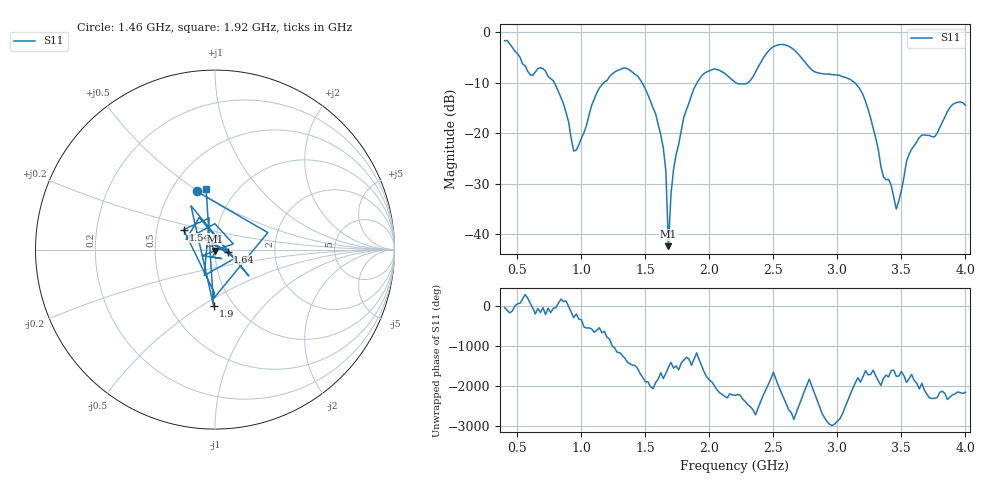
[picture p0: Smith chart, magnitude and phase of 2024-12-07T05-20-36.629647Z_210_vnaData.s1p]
!Created with skrf (http://scikit-rf.org).
# Hz S RI R 50.0
!freq ReS11 ImS11
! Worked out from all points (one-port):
!   181 points, 400 MHz to 4 GHz, reference 50 ohm
!   lowest |S11| = -42.3 dB at 1.68 GHz (marker M1), VSWR 1.02, Z = 50 - j0.763 ohm
!   |S11| at or under -10 dB: 789 MHz to 1.173 GHz (384.4 MHz wide, 39.2 % of centre); 1.475 GHz to 1.903 GHz (427.5 MHz wide, 25.3 % of centre); 3.137 GHz to end of sweep (the widest 3 of 4)
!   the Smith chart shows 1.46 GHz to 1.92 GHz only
!   S11 on the Smith chart (normalised r, x): 1.46 GHz: 0.67, +0.49; 1.54 GHz: 0.69, +0.16; 1.64 GHz: 1.15, -0.03; 1.9 GHz: 0.81, -0.56; 1.92 GHz: 0.72, +0.56
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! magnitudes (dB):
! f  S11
! 400 MHz  -1.7
! 600 MHz  -8.4
! 720 MHz  -7.7
! 860 MHz  -14.2
! 960 MHz  -23.3
! 1.14 GHz  -11.0
! 1.3 GHz  -7.4
! 1.46 GHz  -9.4
! 1.54 GHz  -13.7
! 1.64 GHz  -22.9
! 1.66 GHz  -27.5
! 1.68 GHz  -42.3
! 1.7 GHz  -31.9
! 1.76 GHz  -22.1
! 1.9 GHz  -10.1
! 1.92 GHz  -9.3
! 2.2 GHz  -9.8
! 2.32 GHz  -9.5
! 2.5 GHz  -2.8
! 2.66 GHz  -3.4
! 3.1 GHz  -9.3
! 3.22 GHz  -13.7
! 3.36 GHz  -28.6
! 3.46 GHz  -35.0
! 3.56 GHz  -24.1
! 3.76 GHz  -20.7
! 3.9 GHz  -14.3
! 4 GHz  -14.4
